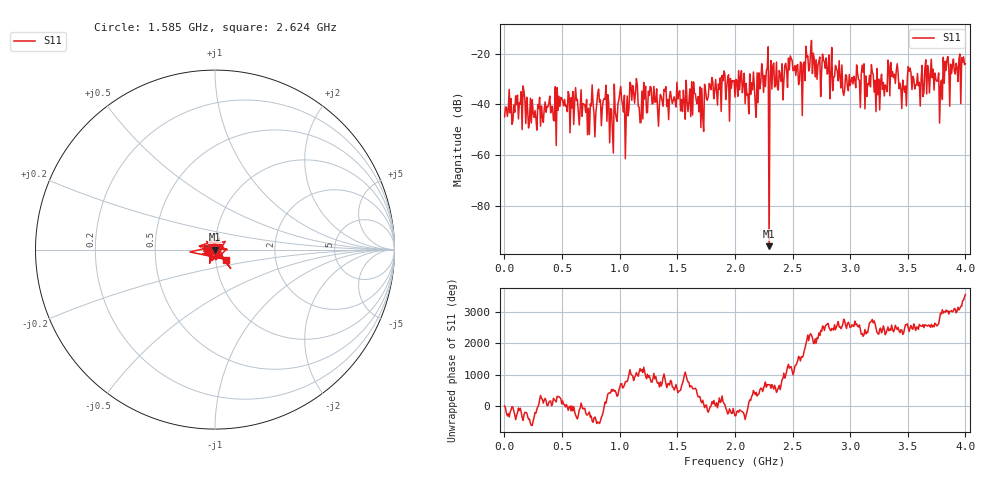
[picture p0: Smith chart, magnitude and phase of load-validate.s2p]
!Created with skrf (http://scikit-rf.org).
# GHz S DB R 50.0
!freq dBS11 angS11
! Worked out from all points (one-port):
!   501 points, 1 MHz to 4 GHz, reference 50 ohm
!   lowest |S11| = -96.0 dB at 2.296 GHz (marker M1), VSWR 1.00, Z = 50 - j0.00104 ohm
!   |S11| at or under -10 dB: start of sweep to end of sweep
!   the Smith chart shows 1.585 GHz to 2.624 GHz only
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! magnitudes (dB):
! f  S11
! 1 MHz  -45.0
! 504.9 MHz  -38.6
! 720.8 MHz  -52.0
! 864.8 MHz  -37.7
! 928.8 MHz  -42.0
! 1.001 GHz  -35.4
! 1.065 GHz  -36.7
! 1.105 GHz  -38.4
! 1.185 GHz  -47.1
! 1.209 GHz  -31.4
! 1.505 GHz  -37.9
! 1.713 GHz  -33.6
! 1.793 GHz  -34.2
! 2.001 GHz  -37.1
! 2.184 GHz  -45.1
! 2.272 GHz  -26.8
! 2.28 GHz  -25.6
! 2.296 GHz  -96.0
! 2.312 GHz  -22.7
! 2.32 GHz  -34.0
! 2.504 GHz  -26.7
! 2.568 GHz  -23.3
! 2.672 GHz  -27.9
! 3 GHz  -32.5
! 3.504 GHz  -25.1
! 3.784 GHz  -32.5
! 3.84 GHz  -22.4
! 4 GHz  -24.0
